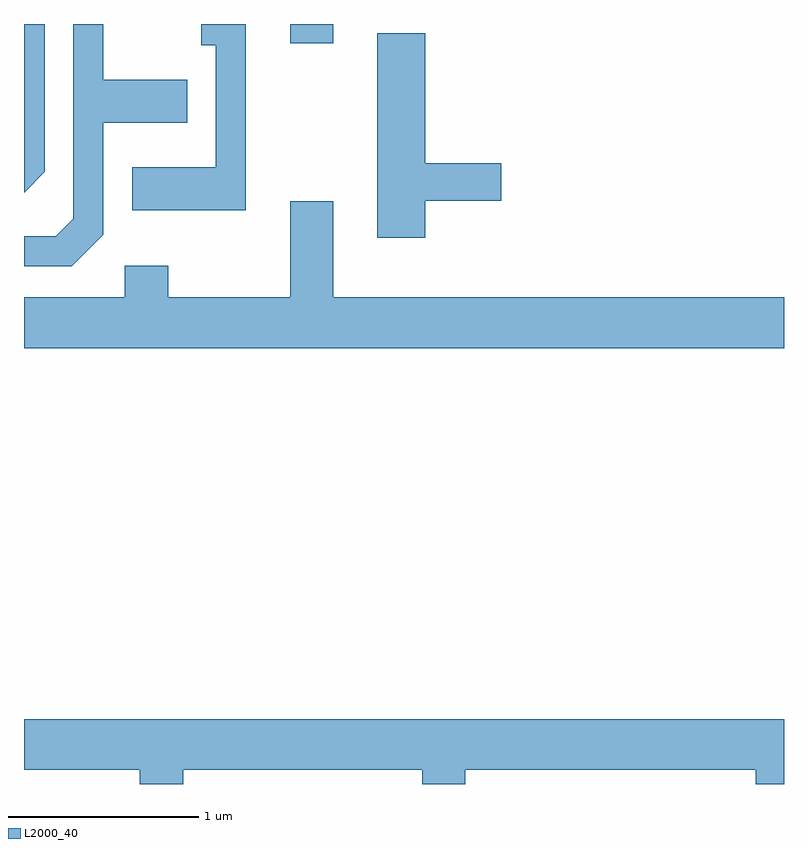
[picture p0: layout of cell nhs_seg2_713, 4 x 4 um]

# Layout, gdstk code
import gdstk
lib = gdstk.Library(unit=1e-6, precision=1e-09)
def R(c, l, rs):  # rectangles x0, y0, x1, y1
    for r in rs: c.add(gdstk.rectangle(r[:2], r[2:], *l))
def P(c, l, *ps):  # polygons
    for p in ps: c.add(gdstk.Polygon(p, *l))
L2000_40 = (2000, 40)

nhs_seg2_713 = lib.new_cell('nhs_seg2_713')
R(nhs_seg2_713, L2000_40, [(207.011,1047.701,207.239,1047.802)])
P(nhs_seg2_713, L2000_40, [(206.779,1047.802),(206.543,1047.802),(206.543,1047.691),(206.621,1047.691),(206.621,1047.049),(206.181,1047.049),(206.181,1046.821),(206.779,1046.821)],
  [(206.029,1046.694),(206.029,1047.281),(206.469,1047.281),(206.469,1047.509),(206.029,1047.509),(206.029,1047.802),(205.871,1047.802),(205.871,1046.777),(205.779,1046.684),(205.611,1046.684),(205.611,1046.526),(205.862,1046.526)],
  [(205.719,1047.024),(205.719,1047.802),(205.611,1047.802),(205.611,1046.915)],
  [(207.724,1046.871),(208.124,1046.871),(208.124,1047.069),(207.724,1047.069),(207.724,1047.754),(207.471,1047.754),(207.471,1046.676),(207.724,1046.676)],
  [(209.611,1046.364),(207.239,1046.364),(207.239,1046.869),(207.011,1046.869),(207.011,1046.364),(206.369,1046.364),(206.369,1046.529),(206.141,1046.529),(206.141,1046.364),(205.611,1046.364),(205.611,1046.096),(209.611,1046.096)],
  [(206.449,1043.876),(207.706,1043.876),(207.706,1043.802),(207.934,1043.802),(207.934,1043.876),(209.461,1043.876),(209.461,1043.802),(209.611,1043.802),(209.611,1044.144),(205.611,1044.144),(205.611,1043.876),(206.221,1043.876),(206.221,1043.802),(206.449,1043.802)])

lib.write_gds('nhs_seg2_713.gds')
